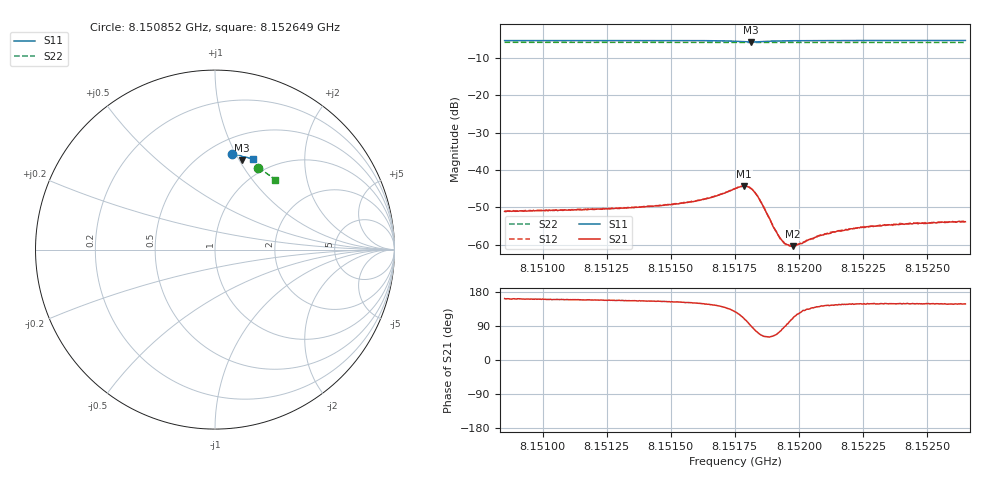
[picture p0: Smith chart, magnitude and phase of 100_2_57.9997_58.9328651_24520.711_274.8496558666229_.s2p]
#  HZ  S  RI  R  50.00
! Rohde & Schwarz Vector Network Analyzer
! Rohde-Schwarz,ZNB20-2Port,1311601062101988,3.16
! Created: UTC 3/21/2024, 12:54:46 AM
! freq[Hz]  re:S11  im:S11  re:S21  im:S21  re:S12  im:S12  re:S22  im:S22
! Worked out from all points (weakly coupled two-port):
!   401 points, 8.150852 GHz to 8.152649 GHz, reference 50 ohm
!   highest |S21| = -44.34 dB at 8.151786 GHz (marker M1); lowest = -60.4 dB at 8.151975 GHz (marker M2)
!   lowest |S11| = -5.7 dB at 8.151813 GHz (marker M3), VSWR 3.16, Z = 37.7 + j51.3 ohm
!   |S11| at or under -10 dB: nowhere
!   |S22| runs from -5.8 to -5.8 dB; largest |S21 - S12| = 0.00015
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8.1508523e9  0.0929 0.5344  -0.00265 0.000862  -0.00268 0.000929  0.2415 0.4545
8.1511532e9  0.1143 0.5307  -0.00271 0.00106  -0.00276 0.00115  0.2582 0.4446
8.1514541e9  0.1364 0.5254  -0.00301 0.0014  -0.003 0.00147  0.2748 0.434
8.1515574e9  0.1448 0.5227  -0.0032 0.00175  -0.00323 0.00177  0.2803 0.4305
8.1516247e9  0.1508 0.5201  -0.00345 0.00208  -0.00342 0.00216  0.284 0.4277
8.1516786e9  0.156 0.5168  -0.00363 0.00265  -0.00362 0.00272  0.2867 0.4257
8.1517505e9  0.1617 0.5069  -0.0034 0.00445  -0.00339 0.00452  0.2903 0.4227
8.1517864e9  0.1584 0.4987  -0.00195 0.00574  -0.00194 0.00584  0.2921 0.4213
8.1518134e9  0.1504 0.4967  5.12e-05 0.00564  0.000114 0.00565  0.2929 0.4203
8.1518269e9  0.1467 0.4989  0.000898 0.00498  0.000968 0.00501  0.2936 0.42
8.1518448e9  0.144 0.5035  0.00144 0.00382  0.00151 0.00386  0.2944 0.4195
8.1519032e9  0.1491 0.5142  0.000703 0.00149  0.000743 0.00149  0.2976 0.4177
8.1519302e9  0.1529 0.516  0.000249 0.00115  0.00028 0.00113  0.2991 0.4167
8.1519526e9  0.1558 0.5166  -7.64e-05 0.000998  -5.4e-05 0.00101  0.3003 0.416
8.1519751e9  0.1583 0.5168  -0.000313 0.000899  -0.000284 0.000914  0.3016 0.4151
8.1520065e9  0.1617 0.5169  -0.000606 0.000845  -0.000595 0.00085  0.3032 0.4139
8.1520514e9  0.166 0.5164  -0.000887 0.000801  -0.000879 0.000833  0.3056 0.4121
8.1520784e9  0.1684 0.5161  -0.00101 0.000826  -0.00101 0.00087  0.3071 0.411
8.1521278e9  0.1726 0.5152  -0.00119 0.000838  -0.00118 0.000864  0.3095 0.409
8.1522311e9  0.1806 0.513  -0.00143 0.000893  -0.0014 0.000911  0.3147 0.4049
8.1523523e9  0.1892 0.5104  -0.00158 0.000956  -0.00159 0.00096  0.3207 0.3999
8.1526487e9  0.2095 0.5031  -0.00172 0.00107  -0.00172 0.00108  0.335 0.3874
